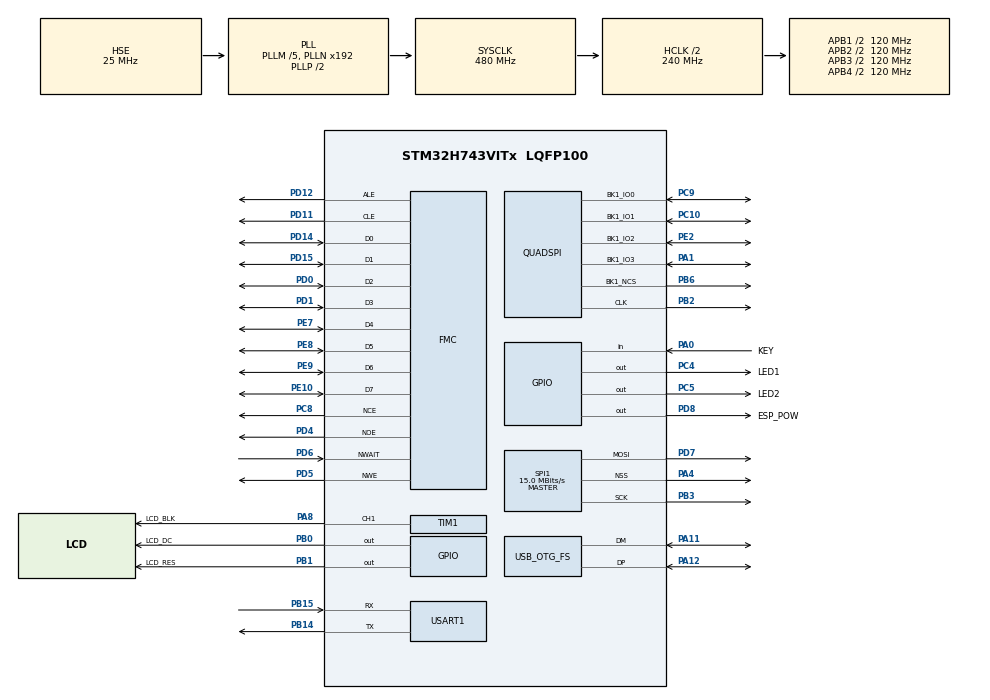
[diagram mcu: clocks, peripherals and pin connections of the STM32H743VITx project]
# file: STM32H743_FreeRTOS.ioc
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ADC3.Channel-1\#ChannelRegularConversion=ADC_CHANNEL_TEMPSENSOR
ADC3.NbrOfConversionFlag=1
ADC3.OffsetNumber-1\#ChannelRegularConversion=ADC_OFFSET_NONE
ADC3.OffsetSignedSaturation-1\#ChannelRegularConversion=DISABLE
ADC3.Rank-1\#ChannelRegularConversion=1
ADC3.Resolution=ADC_RESOLUTION_16B
ADC3.SamplingTime-1\#ChannelRegularConversion=ADC_SAMPLETIME_810CYCLES_5
Dma.Request0=SPI1_TX
Dma.Request1=USART1_RX
Dma.Request2=USART1_TX
Dma.SPI1_TX.0.Direction=DMA_MEMORY_TO_PERIPH
Dma.SPI1_TX.0.EventEnable=DISABLE
Dma.SPI1_TX.0.FIFOMode=DMA_FIFOMODE_DISABLE
Dma.SPI1_TX.0.Instance=DMA1_Stream0
Dma.SPI1_TX.0.MemDataAlignment=DMA_MDATAALIGN_HALFWORD
Dma.SPI1_TX.0.MemInc=DMA_MINC_ENABLE
Dma.SPI1_TX.0.Mode=DMA_NORMAL
Dma.SPI1_TX.0.PeriphDataAlignment=DMA_PDATAALIGN_HALFWORD
Dma.SPI1_TX.0.PeriphInc=DMA_PINC_DISABLE
Dma.SPI1_TX.0.Polarity=HAL_DMAMUX_REQ_GEN_RISING
Dma.SPI1_TX.0.Priority=DMA_PRIORITY_LOW
Dma.SPI1_TX.0.RequestNumber=1
Dma.SPI1_TX.0.SignalID=NONE
Dma.SPI1_TX.0.SyncEnable=DISABLE
Dma.SPI1_TX.0.SyncPolarity=HAL_DMAMUX_SYNC_NO_EVENT
Dma.SPI1_TX.0.SyncRequestNumber=1
Dma.SPI1_TX.0.SyncSignalID=NONE
Dma.USART1_RX.1.Direction=DMA_PERIPH_TO_MEMORY
Dma.USART1_RX.1.EventEnable=DISABLE
Dma.USART1_RX.1.FIFOMode=DMA_FIFOMODE_DISABLE
Dma.USART1_RX.1.Instance=DMA1_Stream1
Dma.USART1_RX.1.MemDataAlignment=DMA_MDATAALIGN_BYTE
Dma.USART1_RX.1.MemInc=DMA_MINC_ENABLE
Dma.USART1_RX.1.Mode=DMA_CIRCULAR
Dma.USART1_RX.1.PeriphDataAlignment=DMA_PDATAALIGN_BYTE
Dma.USART1_RX.1.PeriphInc=DMA_PINC_DISABLE
Dma.USART1_RX.1.Polarity=HAL_DMAMUX_REQ_GEN_RISING
Dma.USART1_RX.1.Priority=DMA_PRIORITY_VERY_HIGH
Dma.USART1_RX.1.RequestNumber=1
Dma.USART1_RX.1.SignalID=NONE
Dma.USART1_RX.1.SyncEnable=DISABLE
Dma.USART1_RX.1.SyncPolarity=HAL_DMAMUX_SYNC_NO_EVENT
Dma.USART1_RX.1.SyncRequestNumber=1
Dma.USART1_RX.1.SyncSignalID=NONE
Dma.USART1_TX.2.Direction=DMA_MEMORY_TO_PERIPH
Dma.USART1_TX.2.EventEnable=DISABLE
Dma.USART1_TX.2.FIFOMode=DMA_FIFOMODE_DISABLE
Dma.USART1_TX.2.Instance=DMA1_Stream2
Dma.USART1_TX.2.MemDataAlignment=DMA_MDATAALIGN_BYTE
Dma.USART1_TX.2.MemInc=DMA_MINC_ENABLE
Dma.USART1_TX.2.Mode=DMA_NORMAL
Dma.USART1_TX.2.PeriphDataAlignment=DMA_PDATAALIGN_BYTE
Dma.USART1_TX.2.PeriphInc=DMA_PINC_DISABLE
Dma.USART1_TX.2.Polarity=HAL_DMAMUX_REQ_GEN_RISING
Dma.USART1_TX.2.Priority=DMA_PRIORITY_VERY_HIGH
Dma.USART1_TX.2.RequestNumber=1
Dma.USART1_TX.2.SignalID=NONE
Dma.USART1_TX.2.SyncEnable=DISABLE
Dma.USART1_TX.2.SyncPolarity=HAL_DMAMUX_SYNC_NO_EVENT
Dma.USART1_TX.2.SyncRequestNumber=1
Dma.USART1_TX.2.SyncSignalID=NONE
FMC.AttributeSpaceHiZSetupTime1=4
FMC.AttributeSpaceHoldSetupTime1=4
FMC.AttributeSpaceSetupTime1=4
FMC.AttributeSpaceWaitSetupTime1=4
FMC.CommonSpaceHiZSetupTime1=4
FMC.CommonSpaceHoldSetupTime1=4
FMC.CommonSpaceSetupTime1=4
FMC.CommonSpaceWaitSetupTime1=4
FMC.ECCPageSize1=FMC_NAND_ECC_PAGE_SIZE_2048BYTE
FMC.EccComputation1=FMC_NAND_ECC_ENABLE
FMC.NandBlockNbr1=2048
FMC.NandBlockSize1=64
FMC.NandPageSize1=2048
FMC.NandPlaneNbr1=2
FMC.NandPlaneSize1=4096
FMC.NandSpareAreaSize1=64
FMC.TARSetupTime1=0
FREERTOS.BinarySemaphores01=Key_Binary_Sem,Dynamic,NULL;Network_BinarySem,Dynamic,NULL;LCD_BinarySem,Dynamic,NULL
FREERTOS.INCLUDE_vTaskDelayUntil=1
FREERTOS.INCLUDE_xEventGroupSetBitFromISR=1
FREERTOS.INCLUDE_xTimerPendFunctionCall=1
FREERTOS.Mutexes01=Uart_Mutex,Dynamic,NULL
FREERTOS.Queues01=KEY_Queue,1,uint8_t,0,Dynamic,NULL,NULL;Temper_Queue,1,uint16_t,0,Dynamic,NULL,NULL;Network_Queue,16,uint8_t,0,Dynamic,NULL,NULL
FREERTOS.Tasks01=defaultTask,0,128,StartDefaultTask,Default,NULL,Dynamic,NULL,NULL;KEY_Task,1,128,Start_KEY_Task,Default,NULL,Dynamic,NULL,NULL;LCD_Task,0,1024,Start_LCD_Task,Default,NULL,Dynamic,NULL,NULL;Network_Task,-2,512,Start_Network_Task,Default,NULL,Dynamic,NULL,NULL;Temper_Task,-2,128,Start_Temper_Task,Default,NULL,Dynamic,NULL,NULL
FREERTOS.configCHECK_FOR_STACK_OVERFLOW=1
FREERTOS.configGENERATE_RUN_TIME_STATS=1
FREERTOS.configMAX_PRIORITIES=7
FREERTOS.configMINIMAL_STACK_SIZE=128
FREERTOS.configUSE_PREEMPTION=1
FREERTOS.configUSE_STATS_FORMATTING_FUNCTIONS=1
FREERTOS.configUSE_TIMERS=1
FREERTOS.configUSE_TRACE_FACILITY=1
Mcu.Family=STM32H7
Mcu.Name=STM32H743VITx
Mcu.Package=LQFP100
Mdma.MDMA_Channel1.QUADSPI_FIFO_TH.0.BlockCount=0
Mdma.MDMA_Channel1.QUADSPI_FIFO_TH.0.BlockDataLength=0
Mdma.MDMA_Channel1.QUADSPI_FIFO_TH.0.BufferTransferLength=128
Mdma.MDMA_Channel1.QUADSPI_FIFO_TH.0.CircularMode=MDMA_LINEAR_LIST
Mdma.MDMA_Channel1.QUADSPI_FIFO_TH.0.DataAlignment=MDMA_DATAALIGN_PACKENABLE
Mdma.MDMA_Channel1.QUADSPI_FIFO_TH.0.DestBlockAddressOffset=0
Mdma.MDMA_Channel1.QUADSPI_FIFO_TH.0.DestBurst=MDMA_DEST_BURST_SINGLE
Mdma.MDMA_Channel1.QUADSPI_FIFO_TH.0.DestDataSize=MDMA_DEST_DATASIZE_BYTE
Mdma.MDMA_Channel1.QUADSPI_FIFO_TH.0.DestinationInc=MDMA_DEST_INC_DISABLE
Mdma.MDMA_Channel1.QUADSPI_FIFO_TH.0.DstAddress=0
Mdma.MDMA_Channel1.QUADSPI_FIFO_TH.0.Endianness=MDMA_LITTLE_ENDIANNESS_PRESERVE
Mdma.MDMA_Channel1.QUADSPI_FIFO_TH.0.Instance=MDMA_Channel1
Mdma.MDMA_Channel1.QUADSPI_FIFO_TH.0.MaskAddress=0
Mdma.MDMA_Channel1.QUADSPI_FIFO_TH.0.MaskData=0
Mdma.MDMA_Channel1.QUADSPI_FIFO_TH.0.Priority=MDMA_PRIORITY_HIGH
Mdma.MDMA_Channel1.QUADSPI_FIFO_TH.0.Rank=First
Mdma.MDMA_Channel1.QUADSPI_FIFO_TH.0.SourceBlockAddressOffset=0
Mdma.MDMA_Channel1.QUADSPI_FIFO_TH.0.SourceBurst=MDMA_SOURCE_BURST_SINGLE
Mdma.MDMA_Channel1.QUADSPI_FIFO_TH.0.SourceDataSize=MDMA_SRC_DATASIZE_BYTE
Mdma.MDMA_Channel1.QUADSPI_FIFO_TH.0.SourceInc=MDMA_SRC_INC_BYTE
Mdma.MDMA_Channel1.QUADSPI_FIFO_TH.0.SrcAddress=0
Mdma.MDMA_Channel1.QUADSPI_FIFO_TH.0.TransferTriggerMode=MDMA_BUFFER_TRANSFER
Mdma.MDMA_Channel1.Request0=QUADSPI_FIFO_TH
Mdma.MDMA_Channel1.RequestsNb=1
Mdma.RequestSet0=MDMA_Channel1
Mdma.RequestSetsNb=1
NVIC.ADC3_IRQn=true\:5\:0\:false\:false\:true\:true\:true\:true\:true
NVIC.DMA1_Stream0_IRQn=true\:5\:0\:false\:false\:true\:true\:false\:true\:true
NVIC.DMA1_Stream1_IRQn=true\:5\:0\:false\:false\:true\:true\:false\:true\:true
NVIC.DMA1_Stream2_IRQn=true\:5\:0\:false\:false\:true\:true\:false\:true\:true
NVIC.FMC_IRQn=true\:5\:0\:false\:false\:true\:true\:true\:true\:true
NVIC.MDMA_IRQn=true\:5\:0\:false\:false\:true\:true\:false\:true\:true
NVIC.OTG_FS_IRQn=true\:5\:0\:false\:false\:true\:true\:true\:true\:true
NVIC.PriorityGroup=NVIC_PRIORITYGROUP_4
NVIC.QUADSPI_IRQn=true\:5\:0\:false\:false\:true\:true\:true\:true\:true
NVIC.SPI1_IRQn=true\:5\:0\:false\:false\:true\:true\:true\:true\:true
NVIC.TIM17_IRQn=true\:15\:0\:false\:false\:true\:false\:false\:true\:true
NVIC.TIM8_TRG_COM_TIM14_IRQn=true\:5\:0\:true\:false\:true\:true\:true\:true\:true
NVIC.TIM8_UP_TIM13_IRQn=true\:5\:0\:false\:false\:true\:true\:true\:true\:true
NVIC.TimeBase=TIM17_IRQn
NVIC.TimeBaseIP=TIM17
NVIC.USART1_IRQn=true\:5\:0\:false\:false\:true\:true\:true\:true\:true
PA0.GPIO_Label=KEY
PA0.GPIO_PuPd=GPIO_PULLDOWN
PA0.Signal=GPIO_Input
PA1.GPIO_Speed=GPIO_SPEED_FREQ_VERY_HIGH
PA1.Mode=Single Bank 1
PA1.Signal=QUADSPI_BK1_IO3
PA11.Mode=Device_Only
PA11.Signal=USB_OTG_FS_DM
PA12.Mode=Device_Only
PA12.Signal=USB_OTG_FS_DP
PA13\ (JTMS/SWDIO).Mode=Serial_Wire
PA13\ (JTMS/SWDIO).Signal=DEBUG_JTMS-SWDIO
PA14\ (JTCK/SWCLK).Mode=Serial_Wire
PA14\ (JTCK/SWCLK).Signal=DEBUG_JTCK-SWCLK
PA4.GPIO_Speed=GPIO_SPEED_FREQ_VERY_HIGH
PA4.Mode=NSS_Signal_Hard_Output
PA4.Signal=SPI1_NSS
PA8.GPIO_Label=LCD_BLK
PA8.Signal=S_TIM1_CH1
PB0.GPIO_Label=LCD_DC
PB0.GPIO_Speed=GPIO_SPEED_FREQ_VERY_HIGH
PB0.Signal=GPIO_Output
PB1.GPIO_Label=LCD_RES
PB1.GPIO_Speed=GPIO_SPEED_FREQ_VERY_HIGH
PB1.Signal=GPIO_Output
PB14.Mode=Asynchronous
PB14.Signal=USART1_TX
PB15.GPIO_PuPd=GPIO_PULLUP
PB15.Mode=Asynchronous
PB15.Signal=USART1_RX
PB2.GPIO_Speed=GPIO_SPEED_FREQ_VERY_HIGH
PB2.Mode=Single Bank 1
PB2.Signal=QUADSPI_CLK
PB3\ (JTDO/TRACESWO).GPIO_Speed=GPIO_SPEED_FREQ_VERY_HIGH
PB3\ (JTDO/TRACESWO).Mode=TX_Only_Simplex_Unidirect_Master
PB3\ (JTDO/TRACESWO).Signal=SPI1_SCK
PB6.GPIO_Speed=GPIO_SPEED_FREQ_VERY_HIGH
PB6.Mode=Single Bank 1
PB6.Signal=QUADSPI_BK1_NCS
PC10.GPIO_Speed=GPIO_SPEED_FREQ_VERY_HIGH
PC10.Mode=Single Bank 1
PC10.Signal=QUADSPI_BK1_IO1
PC14-OSC32_IN\ (OSC32_IN).Mode=LSE-External-Oscillator
PC14-OSC32_IN\ (OSC32_IN).Signal=RCC_OSC32_IN
PC15-OSC32_OUT\ (OSC32_OUT).Mode=LSE-External-Oscillator
PC15-OSC32_OUT\ (OSC32_OUT).Signal=RCC_OSC32_OUT
PC4.GPIO_Label=LED1
PC4.GPIO_PuPd=GPIO_PULLUP
PC4.PinState=GPIO_PIN_SET
PC4.Signal=GPIO_Output
PC5.GPIO_Label=LED2
PC5.GPIO_PuPd=GPIO_PULLUP
PC5.PinState=GPIO_PIN_SET
PC5.Signal=GPIO_Output
PC8.Mode=NandChipSelect3_1
PC8.Signal=FMC_NCE
PC9.GPIO_PuPd=GPIO_NOPULL
PC9.GPIO_Speed=GPIO_SPEED_FREQ_VERY_HIGH
PC9.Mode=Single Bank 1
PC9.Signal=QUADSPI_BK1_IO0
PD0.Signal=FMC_D2_DA2
PD1.Signal=FMC_D3_DA3
PD11.Signal=FMC_A16_CLE
PD12.Signal=FMC_A17_ALE
PD14.Signal=FMC_D0_DA0
PD15.Signal=FMC_D1_DA1
PD4.Signal=FMC_NOE
PD5.Signal=FMC_NWE
PD6.GPIO_PuPd=GPIO_PULLUP
PD6.Signal=FMC_NWAIT
PD7.GPIO_Speed=GPIO_SPEED_FREQ_VERY_HIGH
PD7.Mode=TX_Only_Simplex_Unidirect_Master
PD7.Signal=SPI1_MOSI
PD8.GPIO_Label=ESP_POW
PD8.GPIO_PuPd=GPIO_PULLDOWN
PD8.Signal=GPIO_Output
PE10.Signal=FMC_D7_DA7
PE2.GPIO_Speed=GPIO_SPEED_FREQ_VERY_HIGH
PE2.Mode=Single Bank 1
PE2.Signal=QUADSPI_BK1_IO2
PE7.Signal=FMC_D4_DA4
PE8.Signal=FMC_D5_DA5
PE9.Signal=FMC_D6_DA6
PH0-OSC_IN\ (PH0).Mode=HSE-External-Oscillator
PH0-OSC_IN\ (PH0).Signal=RCC_OSC_IN
PH1-OSC_OUT\ (PH1).Mode=HSE-External-Oscillator
PH1-OSC_OUT\ (PH1).Signal=RCC_OSC_OUT
ProjectManager.HeapSize=0x400
ProjectManager.StackSize=0x1000
ProjectManager.TargetToolchain=MDK-ARM V5.32
QUADSPI.ChipSelectHighTime=QSPI_CS_HIGH_TIME_1_CYCLE
QUADSPI.ClockPrescaler=2-1
QUADSPI.FifoThreshold=32
QUADSPI.FlashSize=24-1
QUADSPI.SampleShifting=QSPI_SAMPLE_SHIFTING_HALFCYCLE
RCC.ADCFreq_Value=120000000
RCC.APB1Freq_Value=120000000
RCC.APB2Freq_Value=120000000
RCC.APB3Freq_Value=120000000
RCC.APB4Freq_Value=120000000
RCC.CortexFreq_Value=480000000
RCC.D1PPRE=RCC_APB3_DIV2
RCC.D2PPRE1=RCC_APB1_DIV2
RCC.D2PPRE2=RCC_APB2_DIV2
RCC.D3PPRE=RCC_APB4_DIV2
RCC.DIVM1=5
RCC.DIVM2=5
RCC.DIVM3=25
RCC.DIVN1=192
RCC.DIVN2=48
RCC.DIVN3=240
RCC.DIVQ1=5
RCC.DIVQ3=5
RCC.DIVR1=5
RCC.HCLKFreq_Value=240000000
RCC.HPRE=RCC_HCLK_DIV2
RCC.PLL2FRACN=0
RCC.PLL3FRACN=0
RCC.PLLFRACN=0
RCC.PLLSourceVirtual=RCC_PLLSOURCE_HSE
RCC.SPI123CLockSelection=RCC_SPI123CLKSOURCE_PLL2
RCC.SYSCLKFreq_VALUE=480000000
RCC.SYSCLKSource=RCC_SYSCLKSOURCE_PLLCLK
RCC.USBCLockSelection=RCC_USBCLKSOURCE_PLL3
RCC.USBFreq_Value=48000000
SH.FMC_A16_CLE.0=FMC_CLE,8b-dmux1
SH.FMC_A17_ALE.0=FMC_ALE,8b-dmux1
SH.FMC_D0_DA0.0=FMC_D0,8b-dmux1
SH.FMC_D1_DA1.0=FMC_D1,8b-dmux1
SH.FMC_D2_DA2.0=FMC_D2,8b-dmux1
SH.FMC_D3_DA3.0=FMC_D3,8b-dmux1
SH.FMC_D4_DA4.0=FMC_D4,8b-dmux1
SH.FMC_D5_DA5.0=FMC_D5,8b-dmux1
SH.FMC_D6_DA6.0=FMC_D6,8b-dmux1
SH.FMC_D7_DA7.0=FMC_D7,8b-dmux1
SH.FMC_NOE.0=FMC_NOE,8b-dmux1
SH.FMC_NWAIT.0=FMC_NWAIT,Wait1
SH.FMC_NWE.0=FMC_NWE,8b-dmux1
SH.S_TIM1_CH1.0=TIM1_CH1,PWM Generation1 CH1
SPI1.BaudRatePrescaler=SPI_BAUDRATEPRESCALER_8
SPI1.CalculateBaudRate=15.0 MBits/s
SPI1.DataSize=SPI_DATASIZE_8BIT
SPI1.Direction=SPI_DIRECTION_2LINES_TXONLY
SPI1.Mode=SPI_MODE_MASTER
SPI1.VirtualNSS=VM_NSSHARD
SPI1.VirtualType=VM_MASTER
TIM1.Channel-PWM\ Generation1\ CH1=TIM_CHANNEL_1
TIM1.Period=1000-1
TIM1.Prescaler=24-1
TIM13.Period=5000-1
TIM13.Prescaler=240-1
TIM14.AutoReloadPreload=TIM_AUTORELOAD_PRELOAD_ENABLE
TIM14.Period=2400-1
TIM14.Prescaler=5-1
USART1.VirtualMode-Asynchronous=VM_ASYNC
USB_OTG_FS.VirtualMode=Device_Only
VP_ADC3_TempSens_Input.Mode=IN-TempSens
VP_FREERTOS_VS_CMSIS_V1.Mode=CMSIS_V1
VP_SYS_VS_tim17.Mode=TIM17
VP_TIM13_VS_ClockSourceINT.Mode=Enable_Timer
VP_TIM14_VS_ClockSourceINT.Mode=Enable_Timer
VP_TIM1_VS_ClockSourceINT.Mode=Internal
board=custom

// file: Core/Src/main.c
/* USER CODE BEGIN Header */
/**
  ******************************************************************************
  * @file           : main.c
  * @brief          : Main program body
  ******************************************************************************
  * @attention
  *
  * Copyright (c) 2022 STMicroelectronics.
  * All rights reserved.
  *
  * This software is licensed under terms that can be found in the LICENSE file
  * in the root directory of this software component.
  * If no LICENSE file comes with this software, it is provided AS-IS.
  *
  ******************************************************************************
  */
/* USER CODE END Header */
#include "main.h"
#include "cmsis_os.h"
#include "adc.h"
#include "dma.h"
#include "mdma.h"
#include "quadspi.h"
#include "spi.h"
#include "tim.h"
#include "usart.h"
#include "usb_otg.h"
#include "gpio.h"
#include "fmc.h"

/* USER CODE BEGIN Includes */
//#include "st7735s.h"
#include "Bsp_ESP8266.h"
#include "Bsp_w25qxx.h"
#include "Bsp_Nand_Flash.h"

/* USER CODE END Includes */

void SystemClock_Config(void);
void PeriphCommonClock_Config(void);
void MX_FREERTOS_Init(void);

/* USER CODE BEGIN 0 */

//static uint8_t FLASH_Buff[256] __attribute__((section(".ARM.__at_0x24001400")));

/* USER CODE END 0 */

int main(void)
{
  /* USER CODE BEGIN 1 */
  /*设置中断偏移*/
 // SCB->VTOR = FLASH_BASE | 0x100000;

  /* USER CODE END 1 */

  /* MCU Configuration--------------------------------------------------------*/

  /* Reset of all peripherals, Initializes the Flash interface and the Systick. */
  HAL_Init();

  /* Configure the system clock */
  SystemClock_Config();

/* Configure the peripherals common clocks */
  PeriphCommonClock_Config();

  /* Initialize all configured peripherals */
  MX_GPIO_Init();
  MX_DMA_Init();
  MX_USART1_UART_Init();
  MX_QUADSPI_Init();
  MX_MDMA_Init();
  MX_SPI1_Init();
  MX_USB_OTG_FS_PCD_Init();
  MX_FMC_Init();
  MX_TIM14_Init();
  MX_TIM1_Init();
  MX_TIM13_Init();
  MX_ADC3_Init();
  /* USER CODE BEGIN 2 */
  /*MCU系统占用�??*/
  HAL_TIM_Base_Start_IT(&htim14);

  /*打开网络超时定时�??*/
  HAL_TIM_Base_Start_IT(&htim13);

 // LCD_Init();

 // QSPI_W25Qx_Init();

  Bsp_Nand_Init();

  while(1);
  /* USER CODE END 2 */

  /* Call init function for freertos objects (in freertos.c) */
  MX_FREERTOS_Init();

  /* Start scheduler */
  osKernelStart();

  /* We should never get here as control is now taken by the scheduler */
  /* Infinite loop */
  while (1)
  {

  }
}

void SystemClock_Config(void)
{
  RCC_OscInitTypeDef RCC_OscInitStruct = {0};
  RCC_ClkInitTypeDef RCC_ClkInitStruct = {0};

  /** Supply configuration update enable
  */
  HAL_PWREx_ConfigSupply(PWR_LDO_SUPPLY);

  /** Configure the main internal regulator output voltage
  */
  __HAL_PWR_VOLTAGESCALING_CONFIG(PWR_REGULATOR_VOLTAGE_SCALE1);

  while(!__HAL_PWR_GET_FLAG(PWR_FLAG_VOSRDY)) {}

  __HAL_RCC_SYSCFG_CLK_ENABLE();
  __HAL_PWR_VOLTAGESCALING_CONFIG(PWR_REGULATOR_VOLTAGE_SCALE0);

  while(!__HAL_PWR_GET_FLAG(PWR_FLAG_VOSRDY)) {}

  /** Macro to configure the PLL clock source
  */
  __HAL_RCC_PLL_PLLSOURCE_CONFIG(RCC_PLLSOURCE_HSE);

  /** Initializes the RCC Oscillators according to the specified parameters
  * in the RCC_OscInitTypeDef structure.
  */
  RCC_OscInitStruct.OscillatorType = RCC_OSCILLATORTYPE_HSE;
  RCC_OscInitStruct.HSEState = RCC_HSE_ON;
  RCC_OscInitStruct.PLL.PLLState = RCC_PLL_ON;
  RCC_OscInitStruct.PLL.PLLSource = RCC_PLLSOURCE_HSE;
  RCC_OscInitStruct.PLL.PLLM = 5;
  RCC_OscInitStruct.PLL.PLLN = 192;
  RCC_OscInitStruct.PLL.PLLP = 2;
  RCC_OscInitStruct.PLL.PLLQ = 5;
  RCC_OscInitStruct.PLL.PLLR = 5;
  RCC_OscInitStruct.PLL.PLLRGE = RCC_PLL1VCIRANGE_2;
  RCC_OscInitStruct.PLL.PLLVCOSEL = RCC_PLL1VCOWIDE;
  RCC_OscInitStruct.PLL.PLLFRACN = 0;
  if (HAL_RCC_OscConfig(&RCC_OscInitStruct) != HAL_OK)
  {
    Error_Handler();
  }

  /** Initializes the CPU, AHB and APB buses clocks
  */
  RCC_ClkInitStruct.ClockType = RCC_CLOCKTYPE_HCLK|RCC_CLOCKTYPE_SYSCLK
                              |RCC_CLOCKTYPE_PCLK1|RCC_CLOCKTYPE_PCLK2
                              |RCC_CLOCKTYPE_D3PCLK1|RCC_CLOCKTYPE_D1PCLK1;
  RCC_ClkInitStruct.SYSCLKSource = RCC_SYSCLKSOURCE_PLLCLK;
  RCC_ClkInitStruct.SYSCLKDivider = RCC_SYSCLK_DIV1;
  RCC_ClkInitStruct.AHBCLKDivider = RCC_HCLK_DIV2;
  RCC_ClkInitStruct.APB3CLKDivider = RCC_APB3_DIV2;
  RCC_ClkInitStruct.APB1CLKDivider = RCC_APB1_DIV2;
  RCC_ClkInitStruct.APB2CLKDivider = RCC_APB2_DIV2;
  RCC_ClkInitStruct.APB4CLKDivider = RCC_APB4_DIV2;

  if (HAL_RCC_ClockConfig(&RCC_ClkInitStruct, FLASH_LATENCY_4) != HAL_OK)
  {
    Error_Handler();
  }
}

void PeriphCommonClock_Config(void)
{
  RCC_PeriphCLKInitTypeDef PeriphClkInitStruct = {0};

  /** Initializes the peripherals clock
  */
  PeriphClkInitStruct.PeriphClockSelection = RCC_PERIPHCLK_ADC|RCC_PERIPHCLK_SPI1;
  PeriphClkInitStruct.PLL2.PLL2M = 5;
  PeriphClkInitStruct.PLL2.PLL2N = 48;
  PeriphClkInitStruct.PLL2.PLL2P = 2;
  PeriphClkInitStruct.PLL2.PLL2Q = 2;
  PeriphClkInitStruct.PLL2.PLL2R = 2;
  PeriphClkInitStruct.PLL2.PLL2RGE = RCC_PLL2VCIRANGE_2;
  PeriphClkInitStruct.PLL2.PLL2VCOSEL = RCC_PLL2VCOWIDE;
  PeriphClkInitStruct.PLL2.PLL2FRACN = 0;
  PeriphClkInitStruct.Spi123ClockSelection = RCC_SPI123CLKSOURCE_PLL2;
  PeriphClkInitStruct.AdcClockSelection = RCC_ADCCLKSOURCE_PLL2;
  if (HAL_RCCEx_PeriphCLKConfig(&PeriphClkInitStruct) != HAL_OK)
  {
    Error_Handler();
  }
}

/* USER CODE BEGIN 4 */
extern volatile uint32_t ulHighFrequencyTimerTicks;
/* USER CODE END 4 */

void HAL_TIM_PeriodElapsedCallback(TIM_HandleTypeDef *htim)
{
  if (htim->Instance == TIM17) {
    HAL_IncTick();
  }
  /* USER CODE BEGIN Callback 1 */
  if (htim->Instance == TIM14)
  {
    ulHighFrequencyTimerTicks++;
  }
  if(htim->Instance == TIM13)
  {
    Bsp_ESP8266_Timer();
  }
  /* USER CODE END Callback 1 */
}

void Error_Handler(void)
{
  __disable_irq();
  while (1)
  {
  }
}

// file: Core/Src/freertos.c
/* USER CODE BEGIN Header */
/**
 ******************************************************************************
 * File Name          : freertos.c
 * Description        : Code for freertos applications
 ******************************************************************************
 * @attention
 *
 * Copyright (c) 2022 STMicroelectronics.
 * All rights reserved.
 *
 * This software is licensed under terms that can be found in the LICENSE file
 * in the root directory of this software component.
 * If no LICENSE file comes with this software, it is provided AS-IS.
 *
 ******************************************************************************
 */
/* USER CODE END Header */

#include "FreeRTOS.h"
#include "task.h"
#include "main.h"
#include "cmsis_os.h"

/* USER CODE BEGIN Includes */
#include "Default_Task.h"
#include "LCD_Task.h"
#include "KEY_Task.h"
#include "Network_Task.h"
#include "Temper_Task.h"
/* USER CODE END Includes */

osThreadId defaultTaskHandle;
osThreadId KEY_TaskHandle;
osThreadId LCD_TaskHandle;
osThreadId Network_TaskHandle;
osThreadId Temper_TaskHandle;
osMessageQId KEY_QueueHandle;
osMessageQId Temper_QueueHandle;
osMessageQId Network_QueueHandle;
osMutexId Uart_MutexHandle;
osSemaphoreId Key_Binary_SemHandle;
osSemaphoreId Network_BinarySemHandle;
osSemaphoreId LCD_BinarySemHandle;

void StartDefaultTask(void const * argument);
void Start_KEY_Task(void const * argument);
void Start_LCD_Task(void const * argument);
void Start_Network_Task(void const * argument);
void Start_Temper_Task(void const * argument);

void MX_FREERTOS_Init(void); /* (MISRA C 2004 rule 8.1) */

/* GetIdleTaskMemory prototype (linked to static allocation support) */
void vApplicationGetIdleTaskMemory( StaticTask_t **ppxIdleTaskTCBBuffer, StackType_t **ppxIdleTaskStackBuffer, uint32_t *pulIdleTaskStackSize );

/* GetTimerTaskMemory prototype (linked to static allocation support) */
void vApplicationGetTimerTaskMemory( StaticTask_t **ppxTimerTaskTCBBuffer, StackType_t **ppxTimerTaskStackBuffer, uint32_t *pulTimerTaskStackSize );

/* Hook prototypes */
void configureTimerForRunTimeStats(void);
unsigned long getRunTimeCounterValue(void);
void vApplicationStackOverflowHook(xTaskHandle xTask, signed char *pcTaskName);

/* USER CODE BEGIN 1 */
/* Functions needed when configGENERATE_RUN_TIME_STATS is on */
#if (configGENERATE_RUN_TIME_STATS == 1)
volatile uint32_t ulHighFrequencyTimerTicks;
#endif

__weak void configureTimerForRunTimeStats(void)
{
#if (configGENERATE_RUN_TIME_STATS == 1)
  ulHighFrequencyTimerTicks = 0;
#endif
}

__weak unsigned long getRunTimeCounterValue(void)
{
#if (configGENERATE_RUN_TIME_STATS == 1)
  return ulHighFrequencyTimerTicks;
#else
  return 0;
#endif
}
/* USER CODE END 1 */

/* USER CODE BEGIN 4 */
__weak void vApplicationStackOverflowHook(xTaskHandle xTask, signed char *pcTaskName)
{
  /* Run time stack overflow checking is performed if
  configCHECK_FOR_STACK_OVERFLOW is defined to 1 or 2. This hook function is
  called if a stack overflow is detected. */

  uint8_t Buff[50] = "Task:";
  strcat((char *)Buff, (char *)pcTaskName);
  strcat((char *)Buff, " Stack is overflow!\r\n");

  Bsp_UART_Write(&huart1, Buff, sizeof(Buff));
  Bsp_UART_Poll_DMA_TX(&huart1);
}
/* USER CODE END 4 */

/* USER CODE BEGIN GET_IDLE_TASK_MEMORY */
static StaticTask_t xIdleTaskTCBBuffer;
static StackType_t xIdleStack[configMINIMAL_STACK_SIZE];

void vApplicationGetIdleTaskMemory( StaticTask_t **ppxIdleTaskTCBBuffer, StackType_t **ppxIdleTaskStackBuffer, uint32_t *pulIdleTaskStackSize )
{
  *ppxIdleTaskTCBBuffer = &xIdleTaskTCBBuffer;
  *ppxIdleTaskStackBuffer = &xIdleStack[0];
  *pulIdleTaskStackSize = configMINIMAL_STACK_SIZE;
  /* place for user code */
}
/* USER CODE END GET_IDLE_TASK_MEMORY */

/* USER CODE BEGIN GET_TIMER_TASK_MEMORY */
static StaticTask_t xTimerTaskTCBBuffer;
static StackType_t xTimerStack[configTIMER_TASK_STACK_DEPTH];

void vApplicationGetTimerTaskMemory( StaticTask_t **ppxTimerTaskTCBBuffer, StackType_t **ppxTimerTaskStackBuffer, uint32_t *pulTimerTaskStackSize )
{
  *ppxTimerTaskTCBBuffer = &xTimerTaskTCBBuffer;
  *ppxTimerTaskStackBuffer = &xTimerStack[0];
  *pulTimerTaskStackSize = configTIMER_TASK_STACK_DEPTH;
  /* place for user code */
}
/* USER CODE END GET_TIMER_TASK_MEMORY */

void MX_FREERTOS_Init(void) {
  /* Create the mutex(es) */
  /* definition and creation of Uart_Mutex */
  osMutexDef(Uart_Mutex);
  Uart_MutexHandle = osMutexCreate(osMutex(Uart_Mutex));

  /* Create the semaphores(s) */
  /* definition and creation of Key_Binary_Sem */
  osSemaphoreDef(Key_Binary_Sem);
  Key_Binary_SemHandle = osSemaphoreCreate(osSemaphore(Key_Binary_Sem), 1);

  /* definition and creation of Network_BinarySem */
  osSemaphoreDef(Network_BinarySem);
  Network_BinarySemHandle = osSemaphoreCreate(osSemaphore(Network_BinarySem), 1);

  /* definition and creation of LCD_BinarySem */
  osSemaphoreDef(LCD_BinarySem);
  LCD_BinarySemHandle = osSemaphoreCreate(osSemaphore(LCD_BinarySem), 1);

  /* Create the queue(s) */
  /* definition and creation of KEY_Queue */
  osMessageQDef(KEY_Queue, 1, uint8_t);
  KEY_QueueHandle = osMessageCreate(osMessageQ(KEY_Queue), NULL);

  /* definition and creation of Temper_Queue */
  osMessageQDef(Temper_Queue, 1, uint16_t);
  Temper_QueueHandle = osMessageCreate(osMessageQ(Temper_Queue), NULL);

  /* definition and creation of Network_Queue */
  osMessageQDef(Network_Queue, 16, uint8_t);
  Network_QueueHandle = osMessageCreate(osMessageQ(Network_Queue), NULL);

  /* Create the thread(s) */
  /* definition and creation of defaultTask */
  osThreadDef(defaultTask, StartDefaultTask, osPriorityNormal, 0, 128);
  defaultTaskHandle = osThreadCreate(osThread(defaultTask), NULL);

  /* definition and creation of KEY_Task */
  osThreadDef(KEY_Task, Start_KEY_Task, osPriorityAboveNormal, 0, 128);
  KEY_TaskHandle = osThreadCreate(osThread(KEY_Task), NULL);

  /* definition and creation of LCD_Task */
  osThreadDef(LCD_Task, Start_LCD_Task, osPriorityNormal, 0, 1024);
  LCD_TaskHandle = osThreadCreate(osThread(LCD_Task), NULL);

  /* definition and creation of Network_Task */
  osThreadDef(Network_Task, Start_Network_Task, osPriorityLow, 0, 512);
  Network_TaskHandle = osThreadCreate(osThread(Network_Task), NULL);

  /* definition and creation of Temper_Task */
  osThreadDef(Temper_Task, Start_Temper_Task, osPriorityLow, 0, 128);
  Temper_TaskHandle = osThreadCreate(osThread(Temper_Task), NULL);

}

void StartDefaultTask(void const * argument)
{
  /* USER CODE BEGIN StartDefaultTask */
  /* Infinite loop */
  Default_Task(argument);
  /* USER CODE END StartDefaultTask */
}

void Start_KEY_Task(void const * argument)
{
  /* USER CODE BEGIN Start_KEY_Task */

  /* Infinite loop */
  KEY_Task(argument);

  /* USER CODE END Start_KEY_Task */
}

void Start_LCD_Task(void const * argument)
{
  /* USER CODE BEGIN Start_LCD_Task */

  /* Infinite loop */
  //LCD_Task(argument);

  /* USER CODE END Start_LCD_Task */
}

void Start_Network_Task(void const * argument)
{
  /* USER CODE BEGIN Start_Network_Task */
  /* Infinite loop */
    Network_Task(argument);
  /* USER CODE END Start_Network_Task */
}

void Start_Temper_Task(void const * argument)
{
  /* USER CODE BEGIN Start_Temper_Task */
  /* Infinite loop */
  Temper_Task(argument);
  /* USER CODE END Start_Temper_Task */
}
